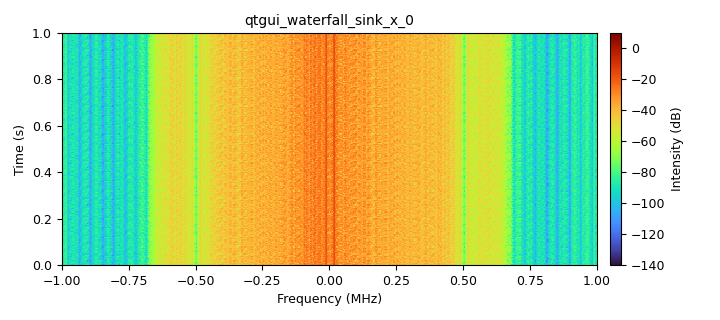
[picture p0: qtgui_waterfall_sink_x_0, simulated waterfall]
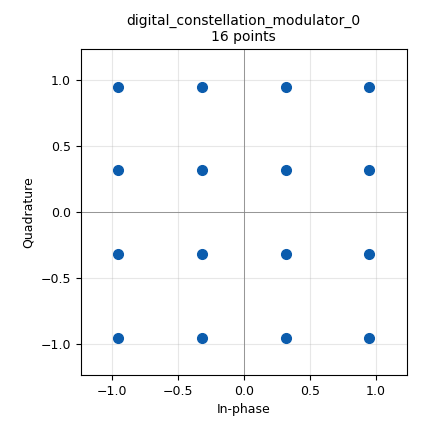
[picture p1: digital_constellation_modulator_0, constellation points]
options:
  parameters:
    generate_options: qt_gui
    id: jammer
    output_language: python
    title: Not titled yet
  states: {}

blocks:
- name: mycons
  id: variable_constellation
  parameters:
    precision: '8'
    type: 16qam
  states: {}
- name: samp_rate
  id: variable
  parameters:
    value: 2e6
  states: {}
- name: slider
  id: variable_qtgui_range
  parameters:
    label: slider
    orient: Qt.Horizontal
    start: 400e6
    step: .01e6
    stop: 500e6
    value: 477e6
  states: {}
- name: analog_random_source_x_0
  id: analog_random_source_x
  parameters:
    max: '2'
    min: '0'
    num_samps: '1000'
    repeat: 'True'
    type: byte
  states: {}
- name: digital_constellation_modulator_0
  id: digital_constellation_modulator
  parameters:
    constellation: mycons
    differential: 'True'
    excess_bw: '0.35'
    samples_per_symbol: '2'
  states: {}
- name: osmosdr_sink_0
  id: osmosdr_sink
  parameters:
    bb_gain0: '0'
    freq0: slider
    gain0: '10'
    if_gain0: '47'
    sample_rate: samp_rate
    sync: sync
    type: fc32
  states: {}
- name: qtgui_waterfall_sink_x_0
  id: qtgui_waterfall_sink_x
  parameters:
    bw: samp_rate
    fc: '0'
    fftsize: '1024'
    type: complex
    wintype: firdes.WIN_BLACKMAN_hARRIS
  states: {}

connections:
- [analog_random_source_x_0, '0', digital_constellation_modulator_0, '0']
- [digital_constellation_modulator_0, '0', osmosdr_sink_0, '0']
- [digital_constellation_modulator_0, '0', qtgui_waterfall_sink_x_0, '0']

metadata:
  file_format: 1
